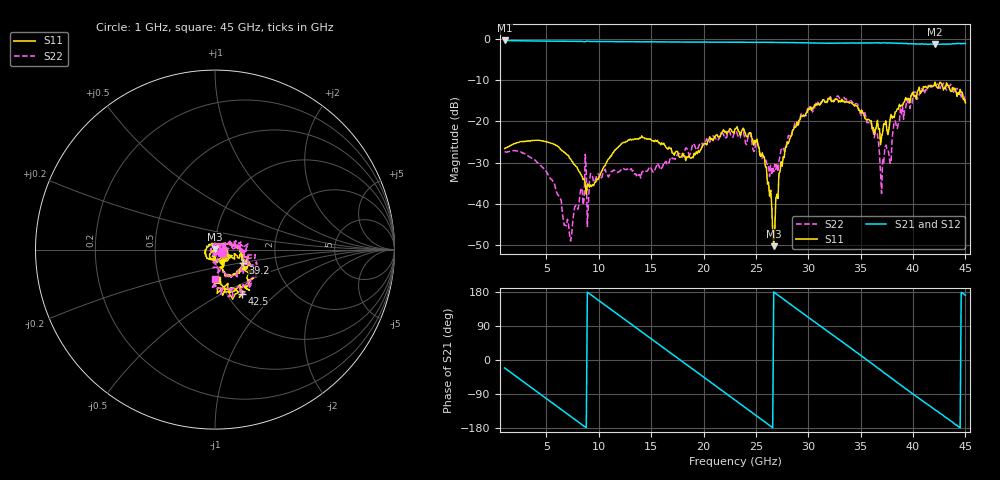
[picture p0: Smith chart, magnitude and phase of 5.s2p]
!Keysight Technologies,N5247B,MY61255062,A.19.80.06
!Date: Monday, May 18, 2026 12:41:55
!Correction: S11(Cdelta 2-Port  )
!S21(Cdelta 2-Port  )
!S12(Cdelta 2-Port  )
!S22(Cdelta 2-Port  )
!S2P File: Measurements: S11, S21, S12, S22:
# Hz S  dB  R 50
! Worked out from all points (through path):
!   441 points, 1 GHz to 45 GHz, reference 50 ohm
!   highest |S21| = -0.40 dB at 1 GHz (marker M1); lowest = -1.4 dB at 42.1 GHz (marker M2)
!   group delay of S21, straight-line fit = 56.1 ps
!   lowest |S11| = -50.2 dB at 26.7 GHz (marker M3), VSWR 1.01, Z = 49.9 + j0.285 ohm
!   |S11| at or under -10 dB: start of sweep to end of sweep
!   |S22| runs from -48.9 to -10.7 dB; largest |S21 - S12| = 0.018
!   S11 on the Smith chart (normalised r, x): 1 GHz: 1.09, -0.03; 39.2 GHz: 1.35, -0.21; 42.5 GHz: 1.17, -0.62; 45 GHz: 0.96, -0.33
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1e9  -26.55 -15.9  -0.40 -21.0  -0.40 -21.0  -27.32 -16.6
4.6e9  -24.73 -97.9  -0.55 -94.0  -0.55 -94.0  -31.13 -98.7
7.2e9  -28.87 -140.5  -0.61 -146.5  -0.60 -146.5  -47.37 -71.5
8.4e9  -33.36 -140.9  -0.63 -171.0  -0.62 -171.0  -36.34 -27.9
9.5e9  -35.56 -103.5  -0.65 166.9  -0.65 166.9  -34.75 -57.4
1.24e10  -25.00 -102.7  -0.73 108.5  -0.72 108.5  -31.47 -137.6
1.57e10  -25.19 -164.4  -0.75 41.7  -0.74 41.7  -30.55 101.5
1.89e10  -28.70 71.1  -0.80 -22.7  -0.80 -22.7  -26.06 26.9
2.11e10  -23.57 -10.5  -0.81 -67.1  -0.81 -67.0  -23.78 12.0
2.3e10  -21.79 -51.8  -0.83 -105.6  -0.82 -105.5  -22.70 -18.7
2.58e10  -28.62 -109.6  -0.84 -162.3  -0.84 -162.2  -28.65 -40.5
2.67e10  -50.18 112.6  -0.88 179.4  -0.85 179.5  -32.11 -3.8
2.8e10  -25.06 43.0  -0.92 153.1  -0.91 153.1  -24.67 27.9
3.04e10  -16.76 -5.9  -1.01 104.5  -1.01 104.4  -17.72 3.1
3.45e10  -16.11 -69.5  -1.04 22.3  -1.03 22.4  -15.71 -69.6
3.65e10  -21.31 -67.0  -1.01 -18.4  -1.01 -18.4  -22.88 -98.9
3.7e10  -23.65 -40.4  -0.99 -28.3  -1.02 -28.6  -37.40 -105.7
3.77e10  -21.84 -30.2  -1.02 -43.0  -1.04 -43.2  -27.97 39.0
3.92e10  -15.18 -26.1  -1.18 -73.9  -1.11 -73.8  -16.97 2.7
4.21e10  -10.51 -49.7  -1.38 -131.3  -1.36 -131.0  -11.25 -46.1
4.25e10  -10.87 -58.7  -1.32 -139.3  -1.29 -138.3  -11.69 -53.0
4.5e10  -15.48 -86.7  -1.18 170.7  -1.19 170.7  -15.70 -89.5
